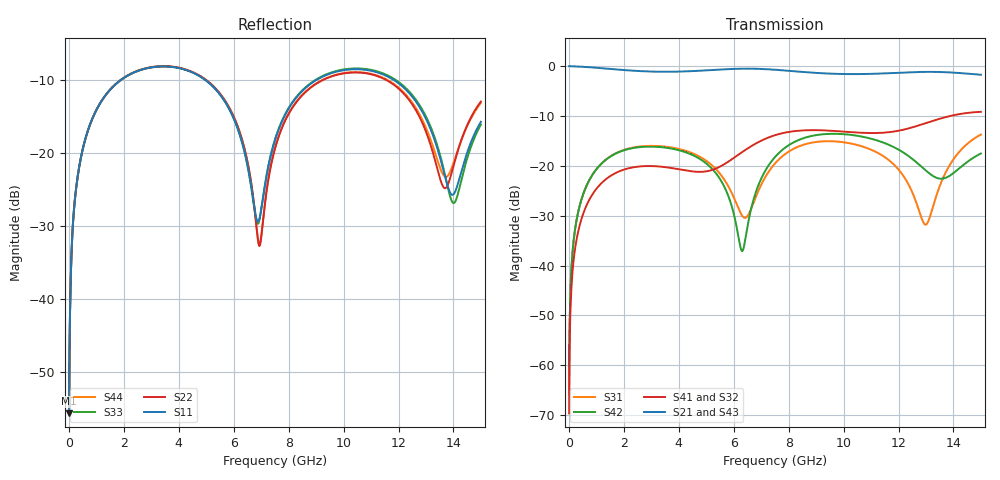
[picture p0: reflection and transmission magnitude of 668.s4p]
! Created with skrf 1.8.0 (http://scikit-rf.org).
# GHz S RI R 50.0
!freq ReS11 ImS11 ReS12 ImS12 ReS13 ImS13
! ReS14 ImS14
! ReS21 ImS21 ReS22 ImS22 ReS23 ImS23
! ReS24 ImS24
! ReS31 ImS31 ReS32 ImS32 ReS33 ImS33
! ReS34 ImS34
! ReS41 ImS41 ReS42 ImS42 ReS43 ImS43
! ReS44 ImS44
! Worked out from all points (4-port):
!   2499 points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, 5 MHz to 15 GHz, reference 50 ohm
!   strongest paths, dB at 5 MHz, 3.476 GHz, 7.19 GHz, 11.1 GHz, 15 GHz:
!     S21: 0.0, -1.1, -0.6, -1.5, -1.7
!     S43: 0.0, -1.1, -0.6, -1.6, -1.7
!     S41: -69.6, -20.2, -14.5, -13.4, -9.2
!     S32: -69.6, -20.3, -14.5, -13.5, -9.2
!     S42: -65.7, -16.3, -20.6, -14.7, -17.5
!     S31: -65.7, -16.1, -21.9, -17.0, -13.7
!   lowest |S11| = -55.7 dB at 5 MHz (marker M1), VSWR 1.00, Z = 50.1 + j0.0992 ohm
!   |S11| at or under -10 dB: start of sweep to 1.882 GHz; 4.975 GHz to 9.001 GHz (4.026 GHz wide, 57.6 % of centre); 11.84 GHz to end of sweep
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0.005  0.0013 0.000989  0.9987 -0.00254  6.45e-05 0.000517  -6.27e-05 -0.000323
       0.9987 -0.00254  0.0013 0.000989  -6.27e-05 -0.000323  6.45e-05 0.000517
       6.45e-05 0.000517  -6.27e-05 -0.000323  0.0013 0.000989  0.9987 -0.00254
       -6.27e-05 -0.000323  6.45e-05 0.000517  0.9987 -0.00254  0.0013 0.000989
0.4126719  0.0248 0.085  0.9657 -0.207  0.012 0.0403  -0.00982 -0.0249
           0.9657 -0.207  0.0249 0.085  -0.0098 -0.0249  0.0117 0.0403
           0.012 0.0403  -0.0098 -0.0249  0.0248 0.085  0.9657 -0.207
           -0.00982 -0.0249  0.0117 0.0403  0.9657 -0.207  0.0249 0.085
1.925802  0.264 0.1819  0.5606 -0.7246  0.1284 0.0607  -0.0898 -0.00783
          0.5606 -0.7246  0.2654 0.1809  -0.0896 -0.00802  0.1246 0.0656
          0.1284 0.0607  -0.0896 -0.00802  0.2641 0.1818  0.5605 -0.7246
          -0.0898 -0.00783  0.1246 0.0656  0.5605 -0.7246  0.2654 0.181
6.877866  0.0337 -0.00206  -0.9366 -0.0722  -0.0217 0.05  -0.00706 0.1716
          -0.9366 -0.0722  0.0226 -0.0119  -0.0105 0.1714  0.0277 0.0553
          -0.0217 0.05  -0.0105 0.1714  0.0327 -0.00116  -0.9366 -0.0717
          -0.00706 0.1716  0.0277 0.0553  -0.9366 -0.0717  0.0234 -0.0112
10.99833  0.3569 -0.0839  0.1025 0.8299  0.1332 -0.058  0.1928 -0.091
          0.1025 0.8299  0.3407 -0.0656  0.1933 -0.0831  0.1255 -0.1388
          0.1332 -0.058  0.1933 -0.0831  0.3616 -0.0881  0.1022 0.8282
          0.1928 -0.091  0.1255 -0.1388  0.1022 0.8282  0.3442 -0.062
12.99291  0.1056 -0.1367  0.7428 0.4635  0.0256 0.00247  0.1282 -0.2352
          0.7428 0.4635  0.0984 -0.1013  0.1389 -0.2283  -0.0668 -0.0602
          0.0256 0.00247  0.1389 -0.2283  0.1036 -0.1461  0.7407 0.4644
          0.1282 -0.2352  -0.0668 -0.0602  0.7407 0.4644  0.1096 -0.1025
15  0.1231 0.1078  0.7605 -0.3051  0.1908 0.0772  -0.172 -0.3024
    0.7605 -0.3051  0.1685 0.15  -0.1581 -0.3094  0.0658 0.1156
    0.1908 0.0772  -0.1581 -0.3094  0.1153 0.106  0.7622 -0.304
    -0.172 -0.3024  0.0658 0.1156  0.7622 -0.304  0.1727 0.1378
